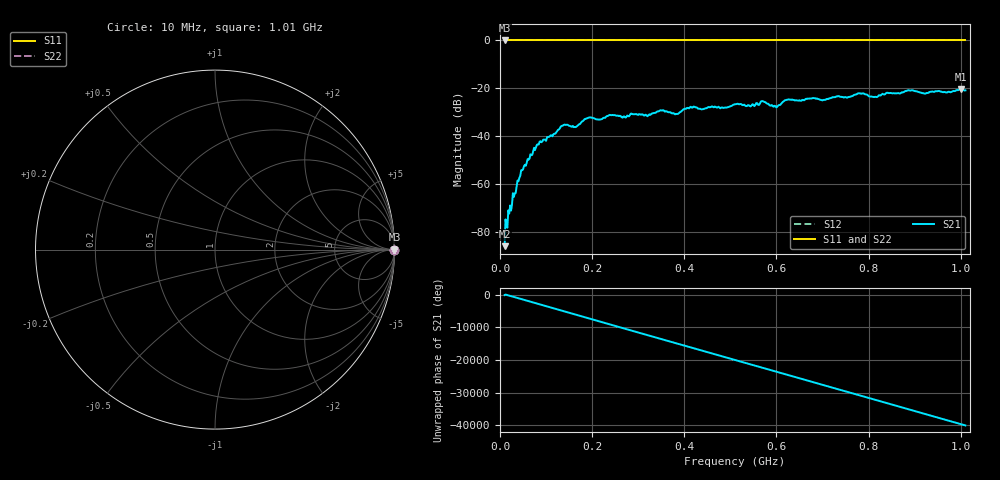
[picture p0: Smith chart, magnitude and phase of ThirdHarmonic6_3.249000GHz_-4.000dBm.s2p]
! 8/17/2025 9:59:35 AM
! C:\ANRITSUVNA\TEMP\TEMP.S2P
! CHANNEL.1
! TR.MEASUREMENT
! RAW.DATA
! RF.CORRECTION.OFF
! AVERAGING.OFF
! IF.BANDWIDTH: 5KHZ
! SWEEPTYPE:  FREQ.SWEEP(Linear)
! Reference Plane Port Info
! PORT:  PORT1  PORT2
! DISTANCE:  0  m  0  m
! TIME:  0  s  0  s
! PHASE.OFFSET:  0  deg.  0  deg.
! LOSS:  0  dB  0  dB
! REF.LOSS:  0  dB  0  dB
! REF.FREQ:  0  Hz  0  Hz
! Power Info
! POWER:  -20  dBm  -20  dBm
! EFF.POWER:  -20  dBm  -20  dBm
! SOURCE.ATTEN:  0  dB  0  dB
! TEST.ATTEN:  0  dB  0  dB
# GHZ S RI R 50.0
! FREQ.GHZ  S11RE  S11IM  S21RE  S21IM  S12RE  S12IM  S22RE  S22IM
!; PortSelection: Port_12
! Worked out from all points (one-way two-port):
!   501 points, 10 MHz to 1.01 GHz, reference 50 ohm
!   highest |S21| = -20.20 dB at 1 GHz (marker M1); lowest = -85.9 dB at 10 MHz (marker M2)
!   lowest |S11| = 0.0 dB at 10 MHz (marker M3)
!   |S11| at or under -10 dB: nowhere
!   |S22| runs from 0.0 to 0.0 dB; largest |S21 - S12| = 1.1
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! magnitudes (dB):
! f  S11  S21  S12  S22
! 10 MHz  0.0  -85.9  0.0  0.0
! 42 MHz  0.0  -57.4  0.0  0.0
! 78 MHz  0.0  -44.7  0.0  0.0
! 136 MHz  0.0  -35.6  0.0  0.0
! 164 MHz  0.0  -36.2  0.0  0.0
! 178 MHz  0.0  -33.9  0.0  0.0
! 194 MHz  0.0  -32.1  0.0  0.0
! 318 MHz  0.0  -31.3  0.0  0.0
! 344 MHz  0.0  -29.6  0.0  0.0
! 384 MHz  0.0  -30.7  0.0  0.0
! 416 MHz  0.0  -28.0  0.0  0.0
! 510 MHz  0.0  -26.6  0.0  0.0
! 570 MHz  0.0  -25.3  0.0  0.0
! 598 MHz  0.0  -27.5  0.0  0.0
! 622 MHz  0.0  -24.8  0.0  0.0
! 678 MHz  0.0  -24.1  0.0  0.0
! 702 MHz  0.0  -24.8  0.0  0.0
! 782 MHz  0.0  -22.1  0.0  0.0
! 814 MHz  0.0  -23.5  0.0  0.0
! 844 MHz  0.0  -22.0  0.0  0.0
! 1 GHz  0.0  -20.2  0.0  0.0
! 1.01 GHz  0.0  -20.8  0.0  0.0
